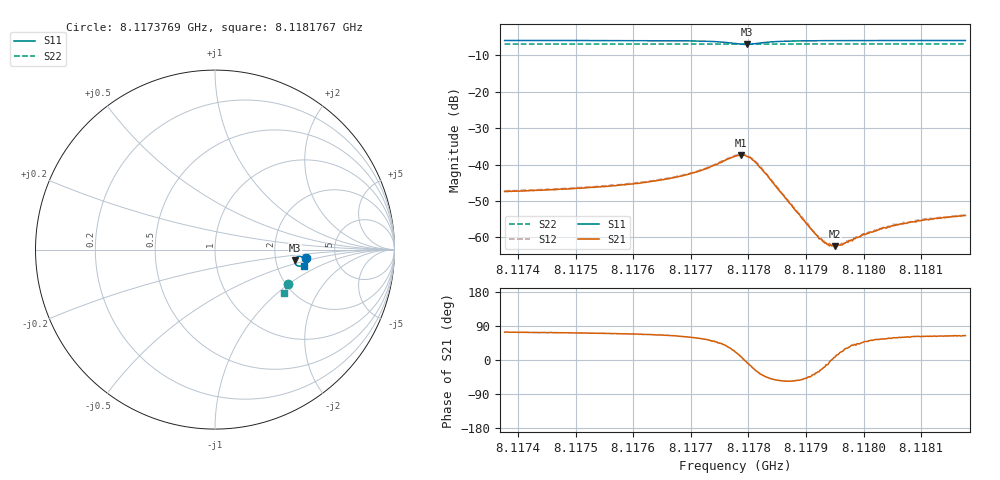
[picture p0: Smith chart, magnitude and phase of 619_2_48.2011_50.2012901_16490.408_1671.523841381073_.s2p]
#  HZ  S  RI  R  50.00
! Rohde & Schwarz Vector Network Analyzer
! Rohde-Schwarz,ZNB20-2Port,1311601062101988,3.16
! Created: UTC 3/20/2024, 12:03:50 PM
! freq[Hz]  re:S11  im:S11  re:S21  im:S21  re:S12  im:S12  re:S22  im:S22
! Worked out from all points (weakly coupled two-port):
!   401 points, 8.1173769 GHz to 8.1181767 GHz, reference 50 ohm
!   highest |S21| = -37.39 dB at 8.1177868 GHz (marker M1); lowest = -62.4 dB at 8.1179508 GHz (marker M2)
!   lowest |S11| = -7.0 dB at 8.1177968 GHz (marker M3), VSWR 2.62, Z = 128 - j19 ohm
!   |S11| at or under -10 dB: nowhere
!   |S22| runs from -6.9 to -6.8 dB; largest |S21 - S12| = 0.0005
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8.11737692e9  0.5051 -0.0443  0.00122 0.0041  0.00124 0.00416  0.409 -0.1933
8.11751089e9  0.5031 -0.0565  0.00155 0.00451  0.00159 0.00463  0.4051 -0.2021
8.11757487e9  0.5017 -0.0631  0.00183 0.00489  0.00191 0.00497  0.4033 -0.2061
8.11764485e9  0.4987 -0.0719  0.00246 0.00555  0.00256 0.00569  0.401 -0.2107
8.11768284e9  0.4955 -0.078  0.00321 0.00617  0.00331 0.00628  0.3996 -0.2133
8.11771084e9  0.491 -0.0837  0.00422 0.00678  0.00432 0.00689  0.3987 -0.2151
8.11777682e9  0.4526 -0.086  0.0121 0.00484  0.0124 0.00513  0.395 -0.2186
8.11778682e9  0.4448 -0.0747  0.0133 0.00216  0.0136 0.00216  0.3946 -0.2186
8.11779681e9  0.4434 -0.0595  0.013 -0.00117  0.0134 -0.00119  0.3943 -0.2184
8.11780681e9  0.4506 -0.0458  0.011 -0.00394  0.0114 -0.00422  0.3945 -0.2187
8.11781881e9  0.4643 -0.0381  0.00773 -0.0053  0.00801 -0.00544  0.3948 -0.2191
8.1178528e9  0.4894 -0.0447  0.00267 -0.00363  0.0027 -0.00373  0.3948 -0.2218
8.11791078e9  0.4986 -0.0608  0.000961 -0.000812  0.000946 -0.000817  0.3932 -0.226
8.11792078e9  0.4991 -0.0627  0.000878 -0.000537  0.000896 -0.000556  0.3928 -0.2266
8.11793278e9  0.4994 -0.065  0.000798 -0.000266  0.000837 -0.000237  0.3926 -0.2276
8.11794078e9  0.4996 -0.0664  0.000764 -7.1e-05  0.000828 -8.28e-05  0.3924 -0.2283
8.11795077e9  0.4998 -0.0679  0.000752 0.000108  0.000763 7.59e-05  0.3921 -0.2287
8.11796077e9  0.4999 -0.0696  0.000729 0.000283  0.000764 0.000306  0.3917 -0.2293
8.11800076e9  0.4999 -0.0748  0.000748 0.000838  0.000729 0.000811  0.3904 -0.2319
8.11804475e9  0.4995 -0.0797  0.000737 0.00117  0.00076 0.00119  0.3886 -0.2347
8.11810673e9  0.4989 -0.086  0.000816 0.00154  0.000853 0.0016  0.3867 -0.2384
8.11817671e9  0.4979 -0.0923  0.000865 0.0018  0.000874 0.00185  0.3843 -0.243
